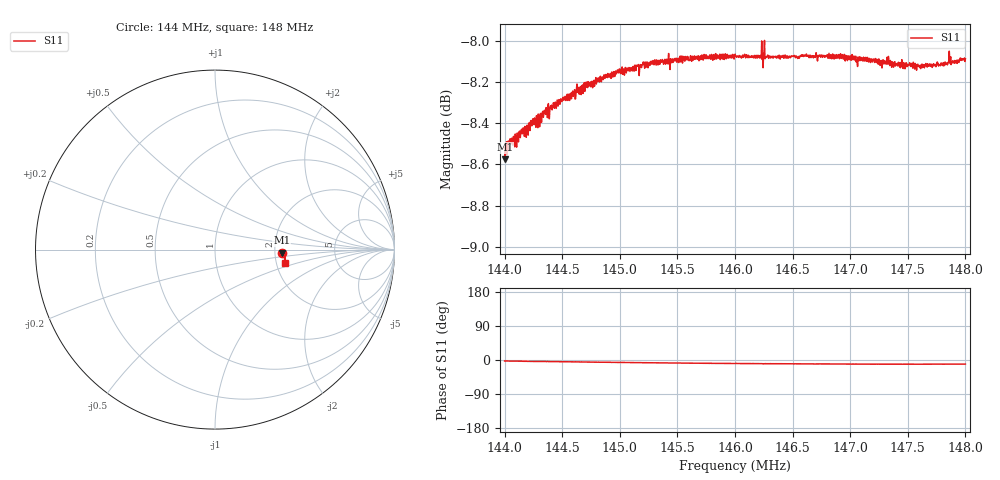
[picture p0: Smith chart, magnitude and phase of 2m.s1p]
! Calibrated averaged scanner-service zoom
# Hz S RI R 50
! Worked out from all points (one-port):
!   1001 points, 144 MHz to 148 MHz, reference 50 ohm
!   lowest |S11| = -8.6 dB at 144 MHz (marker M1), VSWR 2.19, Z = 109 - j4.3 ohm
!   |S11| at or under -10 dB: nowhere
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1.44e8  0.3747 -0.0171
1.44004e8  0.3722 -0.017
1.44044e8  0.376 -0.0188
1.44084e8  0.376 -0.0193
1.44144e8  0.3781 -0.0214
1.44188e8  0.3766 -0.0215
1.44228e8  0.3801 -0.023
1.44284e8  0.3805 -0.0244
1.44364e8  0.3823 -0.0262
1.445e8  0.3838 -0.0314
1.446e8  0.3854 -0.0341
1.4464e8  0.3858 -0.0345
1.45e8  0.3891 -0.0431
1.45288e8  0.3905 -0.0507
1.455e8  0.3898 -0.0553
1.45744e8  0.3899 -0.0596
1.46e8  0.3902 -0.0628
1.46216e8  0.3893 -0.0656
1.46248e8  0.3895 -0.0674
1.46328e8  0.3885 -0.0675
1.465e8  0.3887 -0.0687
1.46544e8  0.3882 -0.0689
1.47e8  0.3878 -0.0741
1.47056e8  0.3871 -0.0733
1.47184e8  0.3869 -0.0752
1.475e8  0.3856 -0.0756
1.47716e8  0.3857 -0.0746
1.48e8  0.3872 -0.0736
